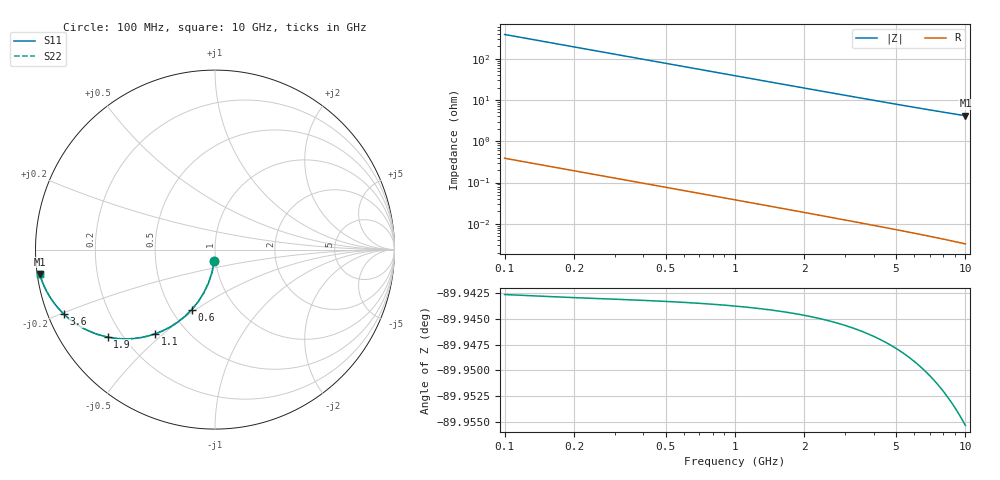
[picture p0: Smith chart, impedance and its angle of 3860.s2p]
# Hz S RI R 50.00
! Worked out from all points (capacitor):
!   100 points, 100 MHz to 10 GHz, reference 50 ohm
!   read as one part in shunt: C = 4.09 pF near 100 MHz
!   lowest |Z| = 4.18 ohm at 10 GHz (marker M1)
!   S11 on the Smith chart (normalised r, x): 100 MHz: 0.98, -0.13; 600 MHz: 0.63, -0.48; 1.1 GHz: 0.33, -0.47; 1.9 GHz: 0.14, -0.35; 3.6 GHz: 0.05, -0.20; 10 GHz: 0.01, -0.07
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1e8  -0.00415 -0.0639  0.9958 -0.0642  0.9958 -0.0642  -0.00415 -0.0639
2e8  -0.0164 -0.1262  0.9836 -0.1268  0.9836 -0.1268  -0.0164 -0.1262
3e8  -0.036 -0.1855  0.9639 -0.1863  0.9639 -0.1863  -0.036 -0.1855
4e8  -0.0622 -0.2406  0.9377 -0.2417  0.9377 -0.2417  -0.0622 -0.2406
5e8  -0.0939 -0.2906  0.906 -0.2919  0.906 -0.2919  -0.0939 -0.2906
6e8  -0.1298 -0.3348  0.8702 -0.3364  0.8702 -0.3364  -0.1298 -0.3348
8e8  -0.2094 -0.4053  0.7905 -0.4075  0.7905 -0.4075  -0.2094 -0.4053
9e8  -0.251 -0.4319  0.749 -0.4343  0.749 -0.4343  -0.251 -0.4319
1.1e9  -0.3334 -0.4695  0.6665 -0.4724  0.6665 -0.4724  -0.3334 -0.4695
1.4e9  -0.4474 -0.4949  0.5526 -0.4986  0.5526 -0.4986  -0.4474 -0.4949
1.8e9  -0.5721 -0.4919  0.4279 -0.4967  0.4279 -0.4967  -0.5721 -0.4919
1.9e9  -0.5982 -0.4872  0.4017 -0.4923  0.4017 -0.4923  -0.5982 -0.4872
2.2e9  -0.6661 -0.4681  0.3338 -0.474  0.3338 -0.474  -0.6661 -0.4681
2.6e9  -0.7358 -0.4369  0.2641 -0.4439  0.2641 -0.4439  -0.7358 -0.4369
3e9  -0.7875 -0.4045  0.2124 -0.4126  0.2124 -0.4126  -0.7875 -0.4045
3.4e9  -0.8263 -0.3737  0.1735 -0.3828  0.1735 -0.3828  -0.8263 -0.3737
3.6e9  -0.8421 -0.3592  0.1578 -0.3689  0.1578 -0.3689  -0.8421 -0.3592
4.3e9  -0.8839 -0.314  0.116 -0.3256  0.116 -0.3256  -0.8839 -0.314
5.1e9  -0.9146 -0.2718  0.0852 -0.2857  0.0852 -0.2857  -0.9146 -0.2718
6.7e9  -0.9489 -0.2102  0.0509 -0.2287  0.0509 -0.2287  -0.9489 -0.2102
8.4e9  -0.9671 -0.1657  0.0326 -0.1892  0.0326 -0.1892  -0.9671 -0.1657
1e10  -0.9767 -0.1353  0.0228 -0.1636  0.0228 -0.1636  -0.9767 -0.1353
